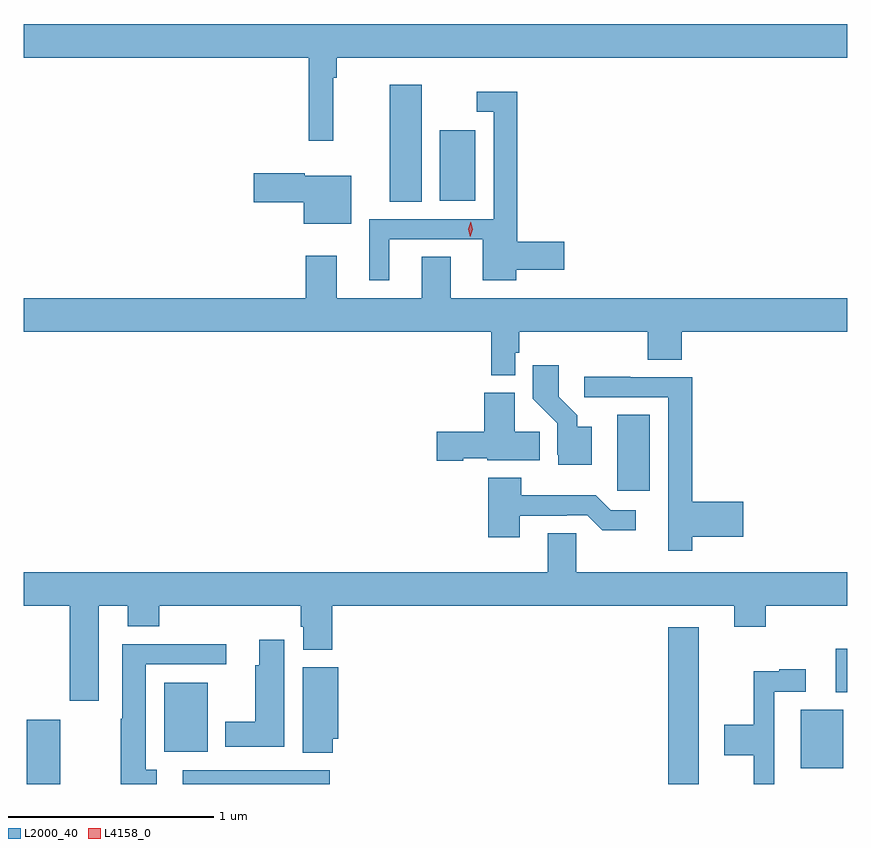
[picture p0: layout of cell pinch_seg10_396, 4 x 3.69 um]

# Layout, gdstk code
import gdstk
lib = gdstk.Library(unit=1e-6, precision=1e-09)
def R(c, l, rs):  # rectangles x0, y0, x1, y1
    for r in rs: c.add(gdstk.rectangle(r[:2], r[2:], *l))
def P(c, l, *ps):  # polygons
    for p in ps: c.add(gdstk.Polygon(p, *l))
L2000_40 = (2000, 40)
L4158_0 = (4158, 0)

pinch_seg10_396 = lib.new_cell('pinch_seg10_396')
R(pinch_seg10_396, L2000_40, [(372.911,1302.115,373.075,1302.427), (373.671,1302.115,374.384,1302.183), (376.028,1302.115,376.177,1302.877), (376.673,1302.191,376.879,1302.475), (373.58,1302.272,373.792,1302.607), (376.844,1302.56,376.898,1302.771), (375.782,1303.539,375.94,1303.91), (374.675,1304.944,374.83,1305.514), (374.918,1304.948,375.091,1305.292)])
P(pinch_seg10_396, L2000_40, [(374.402,1305.548),(374.417,1305.548),(374.417,1305.644),(376.898,1305.644),(376.898,1305.808),(372.898,1305.808),(372.898,1305.644),(374.281,1305.644),(374.281,1305.24),(374.402,1305.24)],
  [(374.674,1304.763),(375.128,1304.763),(375.128,1304.562),(375.29,1304.562),(375.29,1304.615),(375.523,1304.615),(375.523,1304.75),(375.296,1304.75),(375.296,1305.478),(375.099,1305.478),(375.099,1305.381),(375.18,1305.381),(375.18,1304.859),(374.576,1304.859),(374.576,1304.562),(374.674,1304.562)],
  [(374.488,1305.07),(374.262,1305.07),(374.262,1305.083),(374.016,1305.083),(374.016,1304.941),(374.258,1304.941),(374.258,1304.837),(374.488,1304.837)],
  [(375.285,1304.211),(375.305,1304.211),(375.305,1304.312),(375.929,1304.312),(375.929,1304.176),(376.094,1304.176),(376.094,1304.312),(376.898,1304.312),(376.898,1304.476),(374.971,1304.476),(374.971,1304.678),(374.831,1304.678),(374.831,1304.476),(374.419,1304.476),(374.419,1304.683),(374.267,1304.683),(374.267,1304.476),(372.898,1304.476),(372.898,1304.312),(375.169,1304.312),(375.169,1304.102),(375.285,1304.102)],
  [(375.658,1303.852),(375.586,1303.852),(375.586,1303.907),(375.496,1303.997),(375.496,1304.149),(375.37,1304.149),(375.37,1303.986),(375.489,1303.867),(375.489,1303.716),(375.494,1303.716),(375.494,1303.667),(375.658,1303.667)],
  [(376.145,1303.316),(376.393,1303.316),(376.393,1303.487),(376.145,1303.487),(376.145,1304.091),(375.845,1304.091),(375.845,1304.094),(375.621,1304.094),(375.621,1303.995),(376.029,1303.995),(376.029,1303.47),(376.028,1303.47),(376.028,1303.248),(376.145,1303.248)],
  [(375.033,1303.697),(375.15,1303.697),(375.15,1303.688),(375.404,1303.688),(375.404,1303.826),(375.283,1303.826),(375.283,1304.017),(375.134,1304.017),(375.134,1303.827),(374.904,1303.827),(374.904,1303.685),(375.033,1303.685)],
  [(375.307,1303.419),(375.536,1303.419),(375.536,1303.422),(375.636,1303.422),(375.709,1303.349),(375.871,1303.349),(375.871,1303.446),(375.75,1303.446),(375.677,1303.519),(375.315,1303.519),(375.315,1303.603),(375.155,1303.603),(375.155,1303.314),(375.307,1303.314)],
  [(373.261,1302.98),(373.403,1302.98),(373.403,1302.881),(373.556,1302.881),(373.556,1302.98),(374.243,1302.98),(374.243,1302.879),(374.255,1302.879),(374.255,1302.767),(374.396,1302.767),(374.396,1302.98),(376.349,1302.98),(376.349,1302.878),(376.502,1302.878),(376.502,1302.98),(376.898,1302.98),(376.898,1303.144),(375.582,1303.144),(375.582,1303.334),(375.443,1303.334),(375.443,1303.144),(372.898,1303.144),(372.898,1302.98),(373.121,1302.98),(373.121,1302.519),(373.261,1302.519)],
  [(374.164,1302.817),(374.042,1302.817),(374.042,1302.693),(374.021,1302.693),(374.021,1302.418),(373.877,1302.418),(373.877,1302.296),(374.164,1302.296)],
  [(373.543,1302.184),(373.489,1302.184),(373.489,1302.696),(373.882,1302.696),(373.882,1302.794),(373.376,1302.794),(373.376,1302.431),(373.369,1302.431),(373.369,1302.115),(373.543,1302.115)],
  [(374.399,1302.335),(374.425,1302.335),(374.425,1302.682),(374.252,1302.682),(374.252,1302.268),(374.399,1302.268)],
  [(376.545,1302.564),(376.696,1302.564),(376.696,1302.673),(376.568,1302.673),(376.568,1302.662),(376.444,1302.662),(376.444,1302.402),(376.302,1302.402),(376.302,1302.254),(376.444,1302.254),(376.444,1302.115),(376.545,1302.115)])
P(pinch_seg10_396, L4158_0, [(375.066,1304.774),(375.066,1304.775),(375.058,1304.811),(375.07,1304.846),(375.07,1304.847),(375.07,1304.846),(375.078,1304.81),(375.066,1304.775)])

lib.write_gds('pinch_seg10_396.gds')
